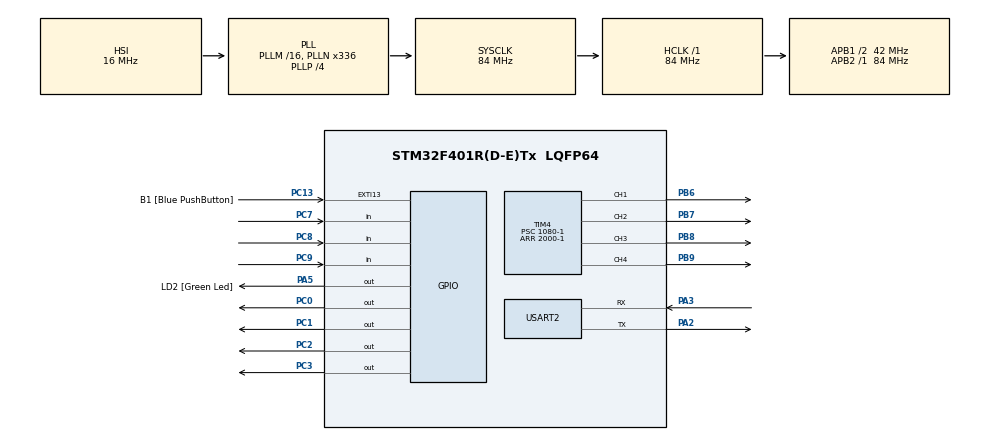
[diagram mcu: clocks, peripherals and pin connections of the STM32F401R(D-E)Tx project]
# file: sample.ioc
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Mcu.Family=STM32F4
Mcu.Name=STM32F401R(D-E)Tx
Mcu.Package=LQFP64
NVIC.PriorityGroup=NVIC_PRIORITYGROUP_0
PA13.GPIO_Label=TMS
PA13.Mode=Serial_Wire
PA13.Signal=SYS_JTMS-SWDIO
PA14.GPIO_Label=TCK
PA14.Mode=Serial_Wire
PA14.Signal=SYS_JTCK-SWCLK
PA2.GPIO_Mode=GPIO_MODE_AF_PP
PA2.GPIO_ModeDefaultPP=GPIO_MODE_AF_PP
PA2.GPIO_PuPd=GPIO_NOPULL
PA2.GPIO_Speed=GPIO_SPEED_FREQ_VERY_HIGH
PA2.Mode=Asynchronous
PA2.Signal=USART2_TX
PA3.GPIO_Mode=GPIO_MODE_AF_PP
PA3.GPIO_ModeDefaultPP=GPIO_MODE_AF_PP
PA3.GPIO_PuPd=GPIO_NOPULL
PA3.GPIO_Speed=GPIO_SPEED_FREQ_VERY_HIGH
PA3.Mode=Asynchronous
PA3.Signal=USART2_RX
PA5.GPIO_Label=LD2 [Green Led]
PA5.GPIO_Mode=GPIO_MODE_OUTPUT_PP
PA5.GPIO_PuPd=GPIO_NOPULL
PA5.GPIO_Speed=GPIO_SPEED_FREQ_LOW
PA5.Signal=GPIO_Output
PB3.GPIO_Label=SWO
PB3.Signal=SYS_JTDO-SWO
PB6.Signal=S_TIM4_CH1
PB7.Signal=S_TIM4_CH2
PB8.Signal=S_TIM4_CH3
PB9.Signal=S_TIM4_CH4
PC0.Signal=GPIO_Output
PC1.Signal=GPIO_Output
PC13-ANTI_TAMP.GPIO_Label=B1 [Blue PushButton]
PC13-ANTI_TAMP.GPIO_ModeDefaultEXTI=GPIO_MODE_IT_FALLING
PC13-ANTI_TAMP.GPIO_PuPd=GPIO_NOPULL
PC13-ANTI_TAMP.Signal=GPXTI13
PC14-OSC32_IN.Mode=LSE-External-Oscillator
PC14-OSC32_IN.Signal=RCC_OSC32_IN
PC15-OSC32_OUT.Mode=LSE-External-Oscillator
PC15-OSC32_OUT.Signal=RCC_OSC32_OUT
PC2.Signal=GPIO_Output
PC3.Signal=GPIO_Output
PC7.Signal=GPIO_Input
PC8.Signal=GPIO_Input
PC9.Signal=GPIO_Input
PH0\ -\ OSC_IN.Mode=HSE-External-Clock-Source
PH0\ -\ OSC_IN.Signal=RCC_OSC_IN
PH1\ -\ OSC_OUT.Mode=HSE-External-Clock-Source
PH1\ -\ OSC_OUT.Signal=RCC_OSC_OUT
ProjectManager.HeapSize=0x200
ProjectManager.StackSize=0x400
ProjectManager.TargetToolchain=STM32CubeIDE
RCC.48MHZClocksFreq_Value=48000000
RCC.AHBFreq_Value=84000000
RCC.APB1CLKDivider=RCC_HCLK_DIV2
RCC.APB1Freq_Value=42000000
RCC.APB1TimFreq_Value=84000000
RCC.APB2Freq_Value=84000000
RCC.APB2TimFreq_Value=84000000
RCC.CortexFreq_Value=84000000
RCC.HCLKFreq_Value=84000000
RCC.HSE_VALUE=8000000
RCC.HSI_VALUE=16000000
RCC.PLLN=336
RCC.PLLP=RCC_PLLP_DIV4
RCC.PLLQ=7
RCC.SYSCLKFreq_VALUE=84000000
RCC.SYSCLKSource=RCC_SYSCLKSOURCE_PLLCLK
RCC.VCOOutputFreq_Value=336000000
SH.S_TIM4_CH1.0=TIM4_CH1,PWM Generation1 CH1
SH.S_TIM4_CH2.0=TIM4_CH2,PWM Generation2 CH2
SH.S_TIM4_CH3.0=TIM4_CH3,PWM Generation3 CH3
SH.S_TIM4_CH4.0=TIM4_CH4,PWM Generation4 CH4
TIM4.Channel-PWM\ Generation1\ CH1=TIM_CHANNEL_1
TIM4.Channel-PWM\ Generation2\ CH2=TIM_CHANNEL_2
TIM4.Channel-PWM\ Generation3\ CH3=TIM_CHANNEL_3
TIM4.Channel-PWM\ Generation4\ CH4=TIM_CHANNEL_4
TIM4.Period=2000-1
TIM4.Prescaler=1080-1
USART2.VirtualMode=VM_ASYNC
board=NUCLEO-F401RE

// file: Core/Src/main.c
/* USER CODE BEGIN Header */
/**
  ******************************************************************************
  * @file           : main.c
  * @brief          : Main program body
  ******************************************************************************
  * @attention
  *
  * Copyright (c) 2024 STMicroelectronics.
  * All rights reserved.
  *
  * This software is licensed under terms that can be found in the LICENSE file
  * in the root directory of this software component.
  * If no LICENSE file comes with this software, it is provided AS-IS.
  *
  ******************************************************************************
  */
/* USER CODE END Header */
#include "main.h"

/* USER CODE BEGIN PD */
#define readPin     		HAL_GPIO_ReadPin
#define togglePin   		HAL_GPIO_TogglePin
#define writePin 			HAL_GPIO_WritePin
#define PORTA       		GPIOA
#define PORTB       		GPIOB
#define PORTC       		GPIOC
#define PORTD       		GPIOD
#define PUSH_BUTTON_FORWARD GPIO_PIN_13
#define PUSH_BUTTON_REVERSE GPIO_PIN_7
#define PUSH_BUTTON_LEFT	GPIO_PIN_8
#define PUSH_BUTTON_RIGHT 	GPIO_PIN_9
#define MOTOR_ONE_FORWARD   GPIO_PIN_0
#define MOTOR_ONE_REVERSE   GPIO_PIN_1
#define MOTOR_TWO_FORWARD   GPIO_PIN_2
#define MOTOR_TWO_REVERSE   GPIO_PIN_3
#define GREEN_LED   		GPIO_PIN_5
#define ON 					0
#define OFF					1

/* USER CODE END PD */

TIM_HandleTypeDef htim4;

UART_HandleTypeDef huart2;

void SystemClock_Config(void);
static void MX_GPIO_Init(void);
static void MX_USART2_UART_Init(void);
static void MX_TIM4_Init(void);

/* USER CODE BEGIN 0 */
int motorLeftSpeed,motorRightSpeed;
motorLeftSpeed = 0;
motorRightSpeed = 0;

GPIO_PinState pushButtonForward;
GPIO_PinState pushButtonReverse;
GPIO_PinState pushButtonLeft;
GPIO_PinState pushButtonRight;
/* USER CODE BEGIN 4 */
void pwm_ch1(uint16_t value)
{
    TIM_OC_InitTypeDef sConfigOC;

    sConfigOC.OCMode = TIM_OCMODE_PWM1;
    sConfigOC.Pulse = value;
    sConfigOC.OCPolarity = TIM_OCPOLARITY_HIGH;
    sConfigOC.OCFastMode = TIM_OCFAST_DISABLE;
    HAL_TIM_PWM_ConfigChannel(&htim4, &sConfigOC, TIM_CHANNEL_1);
    HAL_TIM_PWM_Start(&htim4, TIM_CHANNEL_1);
}
void pwm_ch2(uint16_t value)
{
    TIM_OC_InitTypeDef sConfigOC;

    sConfigOC.OCMode = TIM_OCMODE_PWM1;
    sConfigOC.Pulse = value;
    sConfigOC.OCPolarity = TIM_OCPOLARITY_HIGH;
    sConfigOC.OCFastMode = TIM_OCFAST_DISABLE;
    HAL_TIM_PWM_ConfigChannel(&htim4, &sConfigOC, TIM_CHANNEL_2);
    HAL_TIM_PWM_Start(&htim4, TIM_CHANNEL_2);
}
void pwm_ch3(uint16_t value)
{
    TIM_OC_InitTypeDef sConfigOC;

    sConfigOC.OCMode = TIM_OCMODE_PWM1;
    sConfigOC.Pulse = value;
    sConfigOC.OCPolarity = TIM_OCPOLARITY_HIGH;
    sConfigOC.OCFastMode = TIM_OCFAST_DISABLE;
    HAL_TIM_PWM_ConfigChannel(&htim4, &sConfigOC, TIM_CHANNEL_3);
    HAL_TIM_PWM_Start(&htim4, TIM_CHANNEL_3);
}
void pwm_ch4(uint16_t value)
{
    TIM_OC_InitTypeDef sConfigOC;

    sConfigOC.OCMode = TIM_OCMODE_PWM1;
    sConfigOC.Pulse = value;
    sConfigOC.OCPolarity = TIM_OCPOLARITY_HIGH;
    sConfigOC.OCFastMode = TIM_OCFAST_DISABLE;
    HAL_TIM_PWM_ConfigChannel(&htim4, &sConfigOC, TIM_CHANNEL_4);
    HAL_TIM_PWM_Start(&htim4, TIM_CHANNEL_4);
}
void forward_lr(void)
{

	  writePin(PORTC,MOTOR_ONE_FORWARD, GPIO_PIN_SET);
	  writePin(PORTC,MOTOR_ONE_REVERSE, GPIO_PIN_RESET);
	  motorLeftSpeed = 2000;

	  writePin(PORTC,MOTOR_TWO_FORWARD, GPIO_PIN_SET);
	  writePin(PORTC,MOTOR_TWO_REVERSE, GPIO_PIN_RESET);
	  motorRightSpeed = 2000;

	  if(pushButtonLeft == ON)
	  	  {
		  motorLeftSpeed = 0;
	  	  }
	  else if(pushButtonRight == ON)
	  	  {
		  motorRightSpeed = 0;
	  	  }

}
void reverse_lr(void)
{
	  writePin(PORTC,MOTOR_ONE_REVERSE, GPIO_PIN_SET);
	  writePin(PORTC,MOTOR_ONE_FORWARD, GPIO_PIN_RESET);
	  motorLeftSpeed = 2000;

	  writePin(PORTC,MOTOR_TWO_REVERSE, GPIO_PIN_SET);
	  writePin(PORTC,MOTOR_TWO_FORWARD, GPIO_PIN_RESET);
	  motorRightSpeed = 2000;

	  if(pushButtonLeft == ON)
	  	  {
		  motorLeftSpeed = 0;
	  	  }
	  else if(pushButtonRight == ON)
	  	  {
		  motorRightSpeed = 0;
	  	  }
}
void stop(void)
{
	  motorLeftSpeed = 0;
	  motorRightSpeed = 0;
}
void readInputs(void)
{
	  pushButtonForward = readPin(PORTC, PUSH_BUTTON_FORWARD);
	  pushButtonReverse = readPin(PORTC, PUSH_BUTTON_REVERSE);
	  pushButtonLeft    = readPin(PORTC, PUSH_BUTTON_LEFT);
	  pushButtonRight   = readPin(PORTC, PUSH_BUTTON_RIGHT);
}
/* USER CODE END 4 */
/* USER CODE END 0 */

int main(void)
{

  /* USER CODE BEGIN 1 */
	HAL_TIM_PWM_Start(&htim4, TIM_CHANNEL_1);

  /* USER CODE END 1 */

  /* MCU Configuration--------------------------------------------------------*/

  /* Reset of all peripherals, Initializes the Flash interface and the Systick. */
  HAL_Init();

  /* Configure the system clock */
  SystemClock_Config();

  /* Initialize all configured peripherals */
  MX_GPIO_Init();
  MX_USART2_UART_Init();
  MX_TIM4_Init();

  /* Infinite loop */
  while (1)
  {

    /* USER CODE BEGIN 3 */
	  HAL_Delay(100);
	  readInputs();
	  togglePin(PORTA, GREEN_LED);

	  if(pushButtonForward == ON) //forward control motor 1 and motor 2
	  	  {
		  forward_lr();
	  	  }
	  else if(pushButtonReverse == ON) //reverse control motor 1 and motor 2
	  	  {
		  reverse_lr();
	  	  }
	  else                              // stop both the motors
	  	  {
		  stop();
	  	  }

	  pwm_ch1(motorLeftSpeed);
	  pwm_ch2(motorRightSpeed);

  }
  /* USER CODE END 3 */
}

void SystemClock_Config(void)
{
  RCC_OscInitTypeDef RCC_OscInitStruct = {0};
  RCC_ClkInitTypeDef RCC_ClkInitStruct = {0};

  /** Configure the main internal regulator output voltage
  */
  __HAL_RCC_PWR_CLK_ENABLE();
  __HAL_PWR_VOLTAGESCALING_CONFIG(PWR_REGULATOR_VOLTAGE_SCALE2);

  /** Initializes the RCC Oscillators according to the specified parameters
  * in the RCC_OscInitTypeDef structure.
  */
  RCC_OscInitStruct.OscillatorType = RCC_OSCILLATORTYPE_HSI;
  RCC_OscInitStruct.HSIState = RCC_HSI_ON;
  RCC_OscInitStruct.HSICalibrationValue = RCC_HSICALIBRATION_DEFAULT;
  RCC_OscInitStruct.PLL.PLLState = RCC_PLL_ON;
  RCC_OscInitStruct.PLL.PLLSource = RCC_PLLSOURCE_HSI;
  RCC_OscInitStruct.PLL.PLLM = 16;
  RCC_OscInitStruct.PLL.PLLN = 336;
  RCC_OscInitStruct.PLL.PLLP = RCC_PLLP_DIV4;
  RCC_OscInitStruct.PLL.PLLQ = 7;
  if (HAL_RCC_OscConfig(&RCC_OscInitStruct) != HAL_OK)
  {
    Error_Handler();
  }

  /** Initializes the CPU, AHB and APB buses clocks
  */
  RCC_ClkInitStruct.ClockType = RCC_CLOCKTYPE_HCLK|RCC_CLOCKTYPE_SYSCLK
                              |RCC_CLOCKTYPE_PCLK1|RCC_CLOCKTYPE_PCLK2;
  RCC_ClkInitStruct.SYSCLKSource = RCC_SYSCLKSOURCE_PLLCLK;
  RCC_ClkInitStruct.AHBCLKDivider = RCC_SYSCLK_DIV1;
  RCC_ClkInitStruct.APB1CLKDivider = RCC_HCLK_DIV2;
  RCC_ClkInitStruct.APB2CLKDivider = RCC_HCLK_DIV1;

  if (HAL_RCC_ClockConfig(&RCC_ClkInitStruct, FLASH_LATENCY_2) != HAL_OK)
  {
    Error_Handler();
  }
}

static void MX_TIM4_Init(void)
{

  TIM_MasterConfigTypeDef sMasterConfig = {0};
  TIM_OC_InitTypeDef sConfigOC = {0};

  htim4.Instance = TIM4;
  htim4.Init.Prescaler = 1080-1;
  htim4.Init.CounterMode = TIM_COUNTERMODE_UP;
  htim4.Init.Period = 2000-1;
  htim4.Init.ClockDivision = TIM_CLOCKDIVISION_DIV1;
  htim4.Init.AutoReloadPreload = TIM_AUTORELOAD_PRELOAD_DISABLE;
  if (HAL_TIM_PWM_Init(&htim4) != HAL_OK)
  {
    Error_Handler();
  }
  sMasterConfig.MasterOutputTrigger = TIM_TRGO_RESET;
  sMasterConfig.MasterSlaveMode = TIM_MASTERSLAVEMODE_DISABLE;
  if (HAL_TIMEx_MasterConfigSynchronization(&htim4, &sMasterConfig) != HAL_OK)
  {
    Error_Handler();
  }
  sConfigOC.OCMode = TIM_OCMODE_PWM1;
  sConfigOC.Pulse = 0;
  sConfigOC.OCPolarity = TIM_OCPOLARITY_HIGH;
  sConfigOC.OCFastMode = TIM_OCFAST_DISABLE;
  if (HAL_TIM_PWM_ConfigChannel(&htim4, &sConfigOC, TIM_CHANNEL_1) != HAL_OK)
  {
    Error_Handler();
  }
  if (HAL_TIM_PWM_ConfigChannel(&htim4, &sConfigOC, TIM_CHANNEL_2) != HAL_OK)
  {
    Error_Handler();
  }
  if (HAL_TIM_PWM_ConfigChannel(&htim4, &sConfigOC, TIM_CHANNEL_3) != HAL_OK)
  {
    Error_Handler();
  }
  if (HAL_TIM_PWM_ConfigChannel(&htim4, &sConfigOC, TIM_CHANNEL_4) != HAL_OK)
  {
    Error_Handler();
  }
  HAL_TIM_MspPostInit(&htim4);

}

static void MX_USART2_UART_Init(void)
{

  huart2.Instance = USART2;
  huart2.Init.BaudRate = 115200;
  huart2.Init.WordLength = UART_WORDLENGTH_8B;
  huart2.Init.StopBits = UART_STOPBITS_1;
  huart2.Init.Parity = UART_PARITY_NONE;
  huart2.Init.Mode = UART_MODE_TX_RX;
  huart2.Init.HwFlowCtl = UART_HWCONTROL_NONE;
  huart2.Init.OverSampling = UART_OVERSAMPLING_16;
  if (HAL_UART_Init(&huart2) != HAL_OK)
  {
    Error_Handler();
  }

}

static void MX_GPIO_Init(void)
{
  GPIO_InitTypeDef GPIO_InitStruct = {0};

  /* GPIO Ports Clock Enable */
  __HAL_RCC_GPIOC_CLK_ENABLE();
  __HAL_RCC_GPIOH_CLK_ENABLE();
  __HAL_RCC_GPIOA_CLK_ENABLE();
  __HAL_RCC_GPIOB_CLK_ENABLE();

  /*Configure GPIO pin Output Level */
  HAL_GPIO_WritePin(GPIOC, GPIO_PIN_0|GPIO_PIN_1|GPIO_PIN_2|GPIO_PIN_3, GPIO_PIN_RESET);

  /*Configure GPIO pin Output Level */
  HAL_GPIO_WritePin(LD2_GPIO_Port, LD2_Pin, GPIO_PIN_RESET);

  /*Configure GPIO pin : B1_Pin */
  GPIO_InitStruct.Pin = B1_Pin;
  GPIO_InitStruct.Mode = GPIO_MODE_IT_FALLING;
  GPIO_InitStruct.Pull = GPIO_NOPULL;
  HAL_GPIO_Init(B1_GPIO_Port, &GPIO_InitStruct);

  /*Configure GPIO pins : PC0 PC1 PC2 PC3 */
  GPIO_InitStruct.Pin = GPIO_PIN_0|GPIO_PIN_1|GPIO_PIN_2|GPIO_PIN_3;
  GPIO_InitStruct.Mode = GPIO_MODE_OUTPUT_PP;
  GPIO_InitStruct.Pull = GPIO_NOPULL;
  GPIO_InitStruct.Speed = GPIO_SPEED_FREQ_LOW;
  HAL_GPIO_Init(GPIOC, &GPIO_InitStruct);

  /*Configure GPIO pin : LD2_Pin */
  GPIO_InitStruct.Pin = LD2_Pin;
  GPIO_InitStruct.Mode = GPIO_MODE_OUTPUT_PP;
  GPIO_InitStruct.Pull = GPIO_NOPULL;
  GPIO_InitStruct.Speed = GPIO_SPEED_FREQ_LOW;
  HAL_GPIO_Init(LD2_GPIO_Port, &GPIO_InitStruct);

  /*Configure GPIO pins : PC7 PC8 PC9 */
  GPIO_InitStruct.Pin = GPIO_PIN_7|GPIO_PIN_8|GPIO_PIN_9;
  GPIO_InitStruct.Mode = GPIO_MODE_INPUT;
  GPIO_InitStruct.Pull = GPIO_NOPULL;
  HAL_GPIO_Init(GPIOC, &GPIO_InitStruct);

}

/* USER CODE BEGIN 4 */
void pwm_ch1(uint16_t value)
{
    TIM_OC_InitTypeDef sConfigOC;

    sConfigOC.OCMode = TIM_OCMODE_PWM1;
    sConfigOC.Pulse = value;
    sConfigOC.OCPolarity = TIM_OCPOLARITY_HIGH;
    sConfigOC.OCFastMode = TIM_OCFAST_DISABLE;
    HAL_TIM_PWM_ConfigChannel(&htim4, &sConfigOC, TIM_CHANNEL_1);
    HAL_TIM_PWM_Start(&htim4, TIM_CHANNEL_1);
}
void pwm_ch2(uint16_t value)
{
    TIM_OC_InitTypeDef sConfigOC;

    sConfigOC.OCMode = TIM_OCMODE_PWM1;
    sConfigOC.Pulse = value;
    sConfigOC.OCPolarity = TIM_OCPOLARITY_HIGH;
    sConfigOC.OCFastMode = TIM_OCFAST_DISABLE;
    HAL_TIM_PWM_ConfigChannel(&htim4, &sConfigOC, TIM_CHANNEL_2);
    HAL_TIM_PWM_Start(&htim4, TIM_CHANNEL_2);
}
void pwm_ch3(uint16_t value)
{
    TIM_OC_InitTypeDef sConfigOC;

    sConfigOC.OCMode = TIM_OCMODE_PWM1;
    sConfigOC.Pulse = value;
    sConfigOC.OCPolarity = TIM_OCPOLARITY_HIGH;
    sConfigOC.OCFastMode = TIM_OCFAST_DISABLE;
    HAL_TIM_PWM_ConfigChannel(&htim4, &sConfigOC, TIM_CHANNEL_3);
    HAL_TIM_PWM_Start(&htim4, TIM_CHANNEL_3);
}
void pwm_ch4(uint16_t value)
{
    TIM_OC_InitTypeDef sConfigOC;

    sConfigOC.OCMode = TIM_OCMODE_PWM1;
    sConfigOC.Pulse = value;
    sConfigOC.OCPolarity = TIM_OCPOLARITY_HIGH;
    sConfigOC.OCFastMode = TIM_OCFAST_DISABLE;
    HAL_TIM_PWM_ConfigChannel(&htim4, &sConfigOC, TIM_CHANNEL_4);
    HAL_TIM_PWM_Start(&htim4, TIM_CHANNEL_4);
}
/* USER CODE END 4 */

void Error_Handler(void)
{
  __disable_irq();
  while (1)
  {
  }
}
